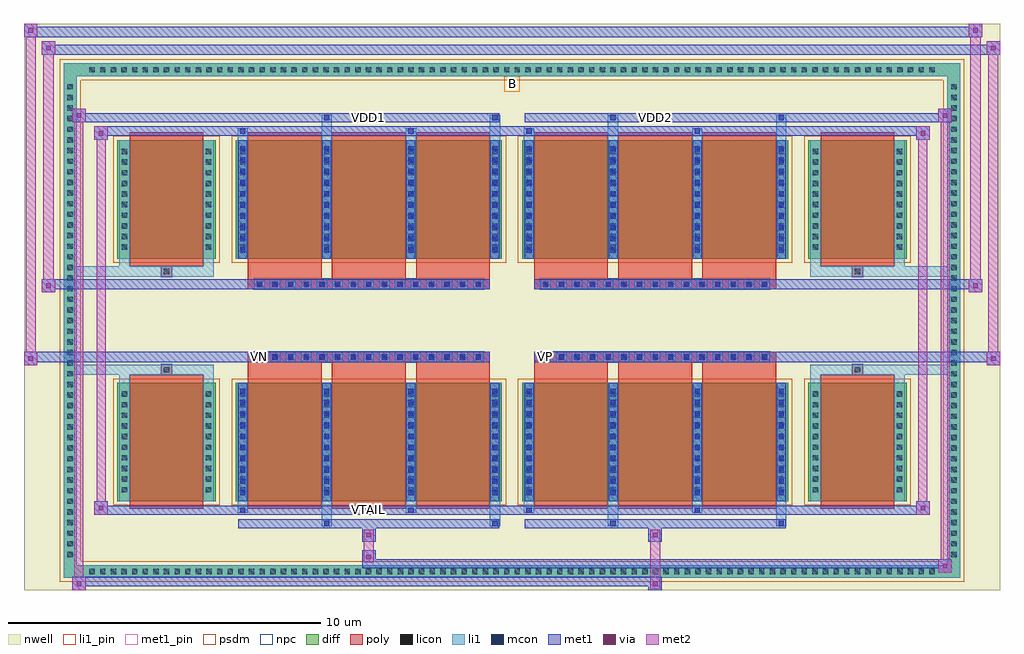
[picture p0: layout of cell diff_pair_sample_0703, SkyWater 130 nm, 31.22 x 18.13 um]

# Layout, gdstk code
import gdstk
lib = gdstk.Library(unit=1e-6, precision=5e-09)
def R(c, l, rs):  # rectangles x0, y0, x1, y1
    for r in rs: c.add(gdstk.rectangle(r[:2], r[2:], *l))
def A(c, l, x, y, w, h, nx, ny, dx, dy):  # array of equal rectangles
    R(c, l, [(x+i*dx, y+j*dy, x+i*dx+w, y+j*dy+h) for i in range(nx) for j in range(ny)])
def P(c, l, *ps):  # polygons
    for p in ps: c.add(gdstk.Polygon(p, *l))
nwell = (64, 20)
diff = (65, 20)
poly = (66, 20)
licon = (66, 44)
li1_pin = (67, 16)
li1 = (67, 20)
mcon = (67, 44)
met1_pin = (68, 16)
met1 = (68, 20)
via = (68, 44)
met2 = (69, 20)
psdm = (94, 20)
npc = (95, 20)

diff_pair_sample_0703 = lib.new_cell('diff_pair_sample_0703')
R(diff_pair_sample_0703, nwell, [(-15.61,-8.63,15.61,9.5), (-12.93,-6.82,-0.01,-0.8), (0.01,-6.82,12.93,-0.8), (-12.93,0.8,-0.01,6.82), (0.01,0.8,12.93,6.82)])
A(diff_pair_sample_0703, diff, -13.635, -8.23, 0.41, 0.41, 80, 2, 0.34, 16.05)
A(diff_pair_sample_0703, diff, -14.34, -7.685, 0.41, 0.41, 1, 45, 0, 0.34)
A(diff_pair_sample_0703, diff, 13.93, -7.685, 0.41, 0.41, 1, 45, 0, 0.34)
R(diff_pair_sample_0703, diff, [(-13.635,-8.23,13.635,-7.82), (-14.34,-7.685,-13.93,7.685), (13.93,-7.685,14.34,7.685), (-12.62,-5.775,-9.48,-1.985), (-8.84,-5.775,-0.32,-1.985), (0.32,-5.775,8.84,-1.985), (9.48,-5.775,12.62,-1.985), (-12.62,1.985,-9.48,5.775), (-8.84,1.985,-0.32,5.775), (0.32,1.985,8.84,5.775), (9.48,1.985,12.62,5.775), (-13.635,7.82,13.635,8.23)])
P(diff_pair_sample_0703, diff, [(14.34,8.23),(-14.34,8.23),(-14.34,-7.82),(-13.93,-7.82),(-13.93,7.82),(13.93,7.82),(13.93,-7.82),(-13.93,-7.82),(-14.34,-7.82),(-14.34,-8.23),(14.34,-8.23)])
A(diff_pair_sample_0703, poly, -8.45, -6.025, 2.36, 4.29, 3, 2, 2.69, 7.76)
A(diff_pair_sample_0703, poly, 0.71, -6.025, 2.36, 4.29, 3, 2, 2.69, 7.76)
A(diff_pair_sample_0703, poly, -8.45, -1.735, 2.36, 0.405, 3, 2, 2.69, 3.065)
A(diff_pair_sample_0703, poly, 0.71, -1.735, 2.36, 0.405, 3, 2, 2.69, 3.065)
A(diff_pair_sample_0703, poly, -8.245, -1.33, 0.33, 0.33, 15, 2, 0.5, 2.33)
A(diff_pair_sample_0703, poly, 0.915, -1.33, 0.33, 0.33, 15, 2, 0.5, 2.33)
R(diff_pair_sample_0703, poly, [(-12.23,-6.025,-9.87,-1.735), (9.87,-6.025,12.23,-1.735), (-11.215,-1.735,-10.885,-1.405), (-11.215,-1.735,-10.885,-1.405), (10.885,-1.735,11.215,-1.405), (10.885,-1.735,11.215,-1.405), (-8.45,-1.33,-0.71,-1), (0.71,-1.33,8.45,-1), (-8.45,1,-0.71,1.33), (0.71,1,8.45,1.33), (-11.215,1.405,-10.885,1.735), (-11.215,1.405,-10.885,1.735), (10.885,1.405,11.215,1.735), (10.885,1.405,11.215,1.735), (-12.23,1.735,-9.87,6.025), (9.87,1.735,12.23,6.025)])
A(diff_pair_sample_0703, licon, -13.515, -8.11, 0.17, 0.17, 80, 2, 0.34, 16.05)
A(diff_pair_sample_0703, licon, -14.22, -7.565, 0.17, 0.17, 1, 45, 0, 0.34)
A(diff_pair_sample_0703, licon, 14.05, -7.565, 0.17, 0.17, 1, 45, 0, 0.34)
A(diff_pair_sample_0703, licon, -12.48, -5.495, 0.17, 0.17, 1, 10, 0, 0.34)
A(diff_pair_sample_0703, licon, -9.79, -5.495, 0.17, 0.17, 1, 10, 0, 0.34)
A(diff_pair_sample_0703, licon, -8.7, -5.495, 0.17, 0.17, 4, 10, 2.69, 0.34)
A(diff_pair_sample_0703, licon, 0.46, -5.495, 0.17, 0.17, 4, 10, 2.69, 0.34)
A(diff_pair_sample_0703, licon, 9.62, -5.495, 0.17, 0.17, 1, 10, 0, 0.34)
A(diff_pair_sample_0703, licon, 12.31, -5.495, 0.17, 0.17, 1, 10, 0, 0.34)
A(diff_pair_sample_0703, licon, -8.165, -1.25, 0.17, 0.17, 15, 2, 0.5, 2.33)
A(diff_pair_sample_0703, licon, 0.995, -1.25, 0.17, 0.17, 15, 2, 0.5, 2.33)
A(diff_pair_sample_0703, licon, -12.48, 2.265, 0.17, 0.17, 1, 10, 0, 0.34)
A(diff_pair_sample_0703, licon, -9.79, 2.265, 0.17, 0.17, 1, 10, 0, 0.34)
A(diff_pair_sample_0703, licon, -8.7, 2.265, 0.17, 0.17, 4, 10, 2.69, 0.34)
A(diff_pair_sample_0703, licon, 0.46, 2.265, 0.17, 0.17, 4, 10, 2.69, 0.34)
A(diff_pair_sample_0703, licon, 9.62, 2.265, 0.17, 0.17, 1, 10, 0, 0.34)
A(diff_pair_sample_0703, licon, 12.31, 2.265, 0.17, 0.17, 1, 10, 0, 0.34)
R(diff_pair_sample_0703, licon, [(-11.135,-1.655,-10.965,-1.485), (10.965,-1.655,11.135,-1.485), (-11.135,1.485,-10.965,1.655), (10.965,1.485,11.135,1.655)])
R(diff_pair_sample_0703, li1_pin, [(-0.25,7.32,0.25,7.82)])
A(diff_pair_sample_0703, li1, -13.595, -8.19, 0.33, 0.33, 80, 2, 0.34, 16.05)
A(diff_pair_sample_0703, li1, -14.3, -7.645, 0.33, 0.33, 1, 45, 0, 0.34)
A(diff_pair_sample_0703, li1, 13.97, -7.645, 0.33, 0.33, 1, 45, 0, 0.34)
A(diff_pair_sample_0703, li1, -8.78, -5.775, 0.33, 3.79, 4, 2, 2.69, 7.76)
A(diff_pair_sample_0703, li1, 0.38, -5.775, 0.33, 3.79, 4, 2, 2.69, 7.76)
A(diff_pair_sample_0703, li1, -8.7, -5.585, 0.17, 0.17, 4, 10, 2.69, 0.36)
A(diff_pair_sample_0703, li1, -8.7, -5.585, 0.17, 3.41, 4, 2, 2.69, 7.76)
A(diff_pair_sample_0703, li1, 0.46, -5.585, 0.17, 0.17, 4, 10, 2.69, 0.36)
A(diff_pair_sample_0703, li1, 0.46, -5.585, 0.17, 3.41, 4, 2, 2.69, 7.76)
A(diff_pair_sample_0703, li1, -12.56, -5.575, 0.33, 0.33, 1, 10, 0, 0.34)
A(diff_pair_sample_0703, li1, -9.87, -5.575, 0.33, 0.33, 1, 10, 0, 0.34)
A(diff_pair_sample_0703, li1, -8.78, -5.575, 0.33, 0.33, 4, 10, 2.69, 0.34)
A(diff_pair_sample_0703, li1, 0.38, -5.575, 0.33, 0.33, 4, 10, 2.69, 0.34)
A(diff_pair_sample_0703, li1, 9.54, -5.575, 0.33, 0.33, 1, 10, 0, 0.34)
A(diff_pair_sample_0703, li1, 12.23, -5.575, 0.33, 0.33, 1, 10, 0, 0.34)
A(diff_pair_sample_0703, li1, -8.245, -1.33, 0.33, 0.33, 15, 2, 0.5, 2.33)
A(diff_pair_sample_0703, li1, 0.915, -1.33, 0.33, 0.33, 15, 2, 0.5, 2.33)
A(diff_pair_sample_0703, li1, -8.7, 2.175, 0.17, 0.17, 4, 10, 2.69, 0.36)
A(diff_pair_sample_0703, li1, 0.46, 2.175, 0.17, 0.17, 4, 10, 2.69, 0.36)
A(diff_pair_sample_0703, li1, -12.56, 2.185, 0.33, 0.33, 1, 10, 0, 0.34)
A(diff_pair_sample_0703, li1, -9.87, 2.185, 0.33, 0.33, 1, 10, 0, 0.34)
A(diff_pair_sample_0703, li1, -8.78, 2.185, 0.33, 0.33, 4, 10, 2.69, 0.34)
A(diff_pair_sample_0703, li1, 0.38, 2.185, 0.33, 0.33, 4, 10, 2.69, 0.34)
A(diff_pair_sample_0703, li1, 9.54, 2.185, 0.33, 0.33, 1, 10, 0, 0.34)
A(diff_pair_sample_0703, li1, 12.23, 2.185, 0.33, 0.33, 1, 10, 0, 0.34)
R(diff_pair_sample_0703, li1, [(-14.34,-8.23,-13.93,-7.82), (-14.34,-8.23,-13.93,-7.82), (-13.93,-8.23,13.93,-7.82), (13.93,-8.23,14.34,-7.82), (13.93,-8.23,14.34,-7.82), (-14.34,-7.82,-13.93,7.82), (13.93,-7.82,14.34,7.82), (-6.09,-6.58,-5.76,-5.775), (-6.01,-6.58,-5.84,-6.41), (-0.71,-6.58,-0.38,-5.775), (-0.63,-6.58,-0.46,-6.41), (3.07,-6.58,3.4,-5.775), (3.15,-6.58,3.32,-6.41), (8.45,-6.58,8.78,-5.775), (8.53,-6.58,8.7,-6.41), (-8.78,-6.15,-8.45,-5.775), (-8.7,-6.15,-8.53,-5.98), (-3.4,-6.15,-3.07,-5.775), (-3.32,-6.15,-3.15,-5.98), (0.38,-6.15,0.71,-5.775), (0.46,-6.15,0.63,-5.98), (5.76,-6.15,6.09,-5.775), (5.84,-6.15,6.01,-5.98), (-12.56,-5.775,-12.23,-1.985), (-9.87,-5.775,-9.54,-1.985), (9.54,-5.775,9.87,-1.985), (12.23,-5.775,12.56,-1.985), (-12.56,-1.985,-12.23,-1.405), (-9.87,-1.985,-9.54,-1.405), (9.54,-1.985,9.87,-1.405), (12.23,-1.985,12.56,-1.405), (-14.34,-1.735,-11.215,-1.405), (-12.56,-1.735,-11.215,-1.405), (-11.215,-1.735,-10.885,-1.405), (-10.885,-1.735,-9.54,-1.405), (9.54,-1.735,10.885,-1.405), (10.885,-1.735,11.215,-1.405), (10.885,-1.735,14.34,-1.405), (11.215,-1.735,12.56,-1.405), (-14.34,1.405,-11.215,1.735), (-12.56,1.405,-11.215,1.735), (-12.56,1.405,-12.23,1.985), (-11.215,1.405,-10.885,1.735), (-10.885,1.405,-9.54,1.735), (-9.87,1.405,-9.54,1.985), (9.54,1.405,10.885,1.735), (9.54,1.405,9.87,1.985), (10.885,1.405,11.215,1.735), (10.885,1.405,14.34,1.735), (11.215,1.405,12.56,1.735), (12.23,1.405,12.56,1.985), (-12.56,1.985,-12.23,5.775), (-9.87,1.985,-9.54,5.775), (9.54,1.985,9.87,5.775), (12.23,1.985,12.56,5.775), (-8.78,5.775,-8.45,6.15), (-6.09,5.775,-5.76,6.58), (-3.4,5.775,-3.07,6.15), (-0.71,5.775,-0.38,6.58), (0.38,5.775,0.71,6.15), (3.07,5.775,3.4,6.58), (5.76,5.775,6.09,6.15), (8.45,5.775,8.78,6.58), (-8.7,5.98,-8.53,6.15), (-3.32,5.98,-3.15,6.15), (0.46,5.98,0.63,6.15), (5.84,5.98,6.01,6.15), (-6.01,6.41,-5.84,6.58), (-0.63,6.41,-0.46,6.58), (3.15,6.41,3.32,6.58), (8.53,6.41,8.7,6.58), (-14.34,7.82,-13.93,8.23), (-14.34,7.82,-13.93,8.23), (-13.93,7.82,13.93,8.23), (13.93,7.82,14.34,8.23), (13.93,7.82,14.34,8.23)])
A(diff_pair_sample_0703, mcon, -8.7, -5.585, 0.17, 0.17, 4, 10, 2.69, 0.36)
A(diff_pair_sample_0703, mcon, 0.46, -5.585, 0.17, 0.17, 4, 10, 2.69, 0.36)
A(diff_pair_sample_0703, mcon, -8.165, -1.25, 0.17, 0.17, 15, 2, 0.5, 2.33)
A(diff_pair_sample_0703, mcon, 0.995, -1.25, 0.17, 0.17, 15, 2, 0.5, 2.33)
A(diff_pair_sample_0703, mcon, -8.7, 2.175, 0.17, 0.17, 4, 10, 2.69, 0.36)
A(diff_pair_sample_0703, mcon, 0.46, 2.175, 0.17, 0.17, 4, 10, 2.69, 0.36)
R(diff_pair_sample_0703, mcon, [(-6.01,-6.58,-5.84,-6.41), (-0.63,-6.58,-0.46,-6.41), (3.15,-6.58,3.32,-6.41), (8.53,-6.58,8.7,-6.41), (-8.7,-6.15,-8.53,-5.98), (-3.32,-6.15,-3.15,-5.98), (0.46,-6.15,0.63,-5.98), (5.84,-6.15,6.01,-5.98), (-8.7,5.98,-8.53,6.15), (-3.32,5.98,-3.15,6.15), (0.46,5.98,0.63,6.15), (5.84,5.98,6.01,6.15), (-6.01,6.41,-5.84,6.58), (-0.63,6.41,-0.46,6.58), (3.15,6.41,3.32,6.58), (8.53,6.41,8.7,6.58)])
R(diff_pair_sample_0703, met1_pin, [(-4.715,-6.19,-4.445,-5.92), (-8.215,-1.29,-7.945,-1.02), (0.945,-1.29,1.215,-1.02), (-4.715,6.37,-4.445,6.64), (4.445,6.37,4.715,6.64)])
A(diff_pair_sample_0703, met1, -8.76, -5.775, 0.29, 3.79, 4, 2, 2.69, 7.76)
A(diff_pair_sample_0703, met1, 0.4, -5.775, 0.29, 3.79, 4, 2, 2.69, 7.76)
A(diff_pair_sample_0703, met1, -8.76, -5.645, 0.29, 0.29, 4, 10, 2.69, 0.36)
A(diff_pair_sample_0703, met1, 0.4, -5.645, 0.29, 0.29, 4, 10, 2.69, 0.36)
A(diff_pair_sample_0703, met1, -8.225, -1.31, 0.29, 0.29, 15, 2, 0.5, 2.33)
A(diff_pair_sample_0703, met1, 0.935, -1.31, 0.29, 0.29, 15, 2, 0.5, 2.33)
A(diff_pair_sample_0703, met1, -8.76, 2.115, 0.29, 0.29, 4, 10, 2.69, 0.36)
A(diff_pair_sample_0703, met1, 0.4, 2.115, 0.29, 0.29, 4, 10, 2.69, 0.36)
R(diff_pair_sample_0703, met1, [(-14.07,-8.63,-13.64,-8.2), (4.365,-8.63,4.795,-8.2), (-14.07,-8.49,4.795,-8.2), (13.64,-8.06,14.07,-7.63), (-4.795,-7.92,14.07,-7.63), (-4.795,-7.78,-4.365,-7.35), (-4.795,-7.07,-4.365,-6.64), (4.365,-7.07,4.795,-6.64), (-8.76,-6.64,-0.4,-6.35), (-6.07,-6.64,-5.78,-6.35), (-0.69,-6.64,-0.4,-6.35), (0.4,-6.64,8.76,-6.35), (3.09,-6.64,3.38,-6.35), (8.47,-6.64,8.76,-6.35), (-13.36,-6.21,-12.93,-5.78), (-13.36,-6.21,-8.76,-5.92), (-8.76,-6.21,-8.47,-5.92), (-8.76,-6.21,-0.4,-5.92), (-3.38,-6.21,-3.09,-5.92), (-0.4,-6.21,0.4,-5.92), (0.4,-6.21,0.69,-5.92), (0.4,-6.21,8.76,-5.92), (5.78,-6.21,6.07,-5.92), (8.76,-6.21,13.36,-5.92), (12.93,-6.21,13.36,-5.78), (-15.61,-1.43,-15.18,-1), (15.18,-1.43,15.61,-1), (-15.61,-1.33,-0.71,-1), (-8.45,-1.33,-0.71,-1), (0.71,-1.33,8.45,-1), (0.71,-1.33,15.61,-1), (-15.04,0.9,-14.61,1.33), (14.61,0.9,15.04,1.33), (-15.04,1,-8.45,1.33), (-8.45,1,-0.71,1.33), (0.71,1,8.45,1.33), (8.45,1,15.04,1.33), (-13.36,5.78,-12.93,6.21), (12.93,5.78,13.36,6.21), (-13.36,5.92,-8.76,6.21), (-8.76,5.92,-8.47,6.21), (-8.76,5.92,-0.4,6.21), (-3.38,5.92,-3.09,6.21), (-0.4,5.92,0.4,6.21), (0.4,5.92,0.69,6.21), (0.4,5.92,8.76,6.21), (5.78,5.92,6.07,6.21), (8.76,5.92,13.36,6.21), (-14.07,6.35,-13.64,6.78), (-14.07,6.35,-8.76,6.64), (-8.76,6.35,-0.4,6.64), (-6.07,6.35,-5.78,6.64), (-0.69,6.35,-0.4,6.64), (0.4,6.35,8.76,6.64), (3.09,6.35,3.38,6.64), (8.47,6.35,8.76,6.64), (8.76,6.35,14.07,6.64), (13.64,6.35,14.07,6.78), (-15.04,8.5,-14.61,8.93), (-15.04,8.5,-12.93,8.83), (-12.93,8.5,12.93,8.83), (12.93,8.5,15.61,8.83), (15.18,8.5,15.61,8.93), (-15.61,9.07,-15.18,9.5), (-15.61,9.07,-12.93,9.4), (-12.93,9.07,12.93,9.4), (12.93,9.07,15.04,9.4), (14.61,9.07,15.04,9.5)])
R(diff_pair_sample_0703, via, [(-13.93,-8.49,-13.78,-8.34), (4.505,-8.49,4.655,-8.34), (13.78,-7.92,13.93,-7.77), (-4.655,-7.64,-4.505,-7.49), (-4.655,-6.93,-4.505,-6.78), (4.505,-6.93,4.655,-6.78), (-13.22,-6.07,-13.07,-5.92), (13.07,-6.07,13.22,-5.92), (-15.47,-1.29,-15.32,-1.14), (15.32,-1.29,15.47,-1.14), (-14.9,1.04,-14.75,1.19), (14.75,1.04,14.9,1.19), (-13.22,5.92,-13.07,6.07), (13.07,5.92,13.22,6.07), (-13.93,6.49,-13.78,6.64), (13.78,6.49,13.93,6.64), (-14.9,8.64,-14.75,8.79), (15.32,8.64,15.47,8.79), (-15.47,9.21,-15.32,9.36), (14.75,9.21,14.9,9.36)])
R(diff_pair_sample_0703, met2, [(-14.07,-8.63,-13.64,-8.2), (-14,-8.63,-13.71,6.78), (-13.71,-8.63,-13.64,-8.2), (-14.02,-8.58,-13.69,-8.25), (4.415,-8.58,4.745,-8.25), (4.415,-8.25,4.745,-7.02), (13.64,-8.06,14.07,-7.63), (13.71,-8.06,14,6.78), (14,-8.06,14.07,-7.63), (13.69,-8.01,14.02,-7.68), (-4.745,-7.73,-4.415,-7.4), (-4.745,-7.4,-4.415,-7.02), (-4.745,-7.02,-4.415,-6.69), (4.415,-7.02,4.745,-6.69), (-13.36,-6.21,-12.93,-5.78), (-13.29,-6.21,-13,6.21), (-13,-6.21,-12.93,-5.78), (12.93,-6.21,13.36,-5.78), (13,-6.21,13.29,6.21), (13.29,-6.21,13.36,-5.78), (-13.31,-6.16,-12.98,-5.83), (12.98,-6.16,13.31,-5.83), (-15.61,-1.43,-15.18,-1), (-15.56,-1.43,-15.23,9.5), (-15.23,-1.43,-15.18,-1), (15.18,-1.43,15.61,-1), (15.23,-1.43,15.56,8.93), (15.56,-1.43,15.61,-1), (-15.56,-1.38,-15.23,-1.05), (15.23,-1.38,15.56,-1.05), (-15.04,0.9,-14.61,1.33), (-14.99,0.9,-14.66,8.93), (-14.66,0.9,-14.61,1.33), (14.61,0.9,15.04,1.33), (14.66,0.9,14.99,9.5), (14.99,0.9,15.04,1.33), (-14.99,0.95,-14.66,1.28), (14.66,0.95,14.99,1.28), (-13.36,5.78,-12.93,6.21), (-13,5.78,-12.93,6.21), (12.93,5.78,13.36,6.21), (13.29,5.78,13.36,6.21), (-13.31,5.83,-12.98,6.16), (12.98,5.83,13.31,6.16), (-14.07,6.35,-13.64,6.78), (-13.71,6.35,-13.64,6.78), (13.64,6.35,14.07,6.78), (14,6.35,14.07,6.78), (-14.02,6.4,-13.69,6.73), (13.69,6.4,14.02,6.73), (-15.04,8.5,-14.61,8.93), (-14.66,8.5,-14.61,8.93), (15.18,8.5,15.61,8.93), (15.56,8.5,15.61,8.93), (-14.99,8.55,-14.66,8.88), (15.23,8.55,15.56,8.88), (-15.61,9.07,-15.18,9.5), (-15.23,9.07,-15.18,9.5), (14.61,9.07,15.04,9.5), (14.99,9.07,15.04,9.5), (-15.56,9.12,-15.23,9.45), (14.66,9.12,14.99,9.45)])
R(diff_pair_sample_0703, psdm, [(-12.75,-5.905,-9.35,-1.855), (-8.97,-5.905,-0.19,-1.855), (0.19,-5.905,8.97,-1.855), (9.35,-5.905,12.75,-1.855), (-12.75,1.855,-9.35,5.905), (-8.97,1.855,-0.19,5.905), (0.19,1.855,8.97,5.905), (9.35,1.855,12.75,5.905)])
P(diff_pair_sample_0703, psdm, [(14.47,8.36),(-14.47,8.36),(-14.47,-7.69),(-13.8,-7.69),(-13.8,7.69),(13.8,7.69),(13.8,-7.69),(-13.8,-7.69),(-14.47,-7.69),(-14.47,-8.36),(14.47,-8.36)])
A(diff_pair_sample_0703, npc, -8.265, -1.35, 0.37, 0.37, 15, 2, 0.5, 2.33)
A(diff_pair_sample_0703, npc, 0.895, -1.35, 0.37, 0.37, 15, 2, 0.5, 2.33)
R(diff_pair_sample_0703, npc, [(-11.235,-1.755,-10.865,-1.385), (10.865,-1.755,11.235,-1.385), (-8.265,-1.35,-7.395,-0.98), (-8.265,-1.35,-7.395,-0.98), (-7.765,-1.35,-6.895,-0.98), (-7.765,-1.35,-6.895,-0.98), (-7.265,-1.35,-6.395,-0.98), (-7.265,-1.35,-6.395,-0.98), (-6.765,-1.35,-5.895,-0.98), (-6.765,-1.35,-5.895,-0.98), (-6.265,-1.35,-5.395,-0.98), (-6.265,-1.35,-5.395,-0.98), (-5.765,-1.35,-4.895,-0.98), (-5.765,-1.35,-4.895,-0.98), (-5.265,-1.35,-4.395,-0.98), (-5.265,-1.35,-4.395,-0.98), (-4.765,-1.35,-3.895,-0.98), (-4.765,-1.35,-3.895,-0.98), (-4.265,-1.35,-3.395,-0.98), (-4.265,-1.35,-3.395,-0.98), (-3.765,-1.35,-2.895,-0.98), (-3.765,-1.35,-2.895,-0.98), (-3.265,-1.35,-2.395,-0.98), (-3.265,-1.35,-2.395,-0.98), (-2.765,-1.35,-1.895,-0.98), (-2.765,-1.35,-1.895,-0.98), (-2.265,-1.35,-1.395,-0.98), (-2.265,-1.35,-1.395,-0.98), (-1.765,-1.35,-0.895,-0.98), (-1.765,-1.35,-0.895,-0.98), (0.895,-1.35,1.765,-0.98), (0.895,-1.35,1.765,-0.98), (1.395,-1.35,2.265,-0.98), (1.395,-1.35,2.265,-0.98), (1.895,-1.35,2.765,-0.98), (1.895,-1.35,2.765,-0.98), (2.395,-1.35,3.265,-0.98), (2.395,-1.35,3.265,-0.98), (2.895,-1.35,3.765,-0.98), (2.895,-1.35,3.765,-0.98), (3.395,-1.35,4.265,-0.98), (3.395,-1.35,4.265,-0.98), (3.895,-1.35,4.765,-0.98), (3.895,-1.35,4.765,-0.98), (4.395,-1.35,5.265,-0.98), (4.395,-1.35,5.265,-0.98), (4.895,-1.35,5.765,-0.98), (4.895,-1.35,5.765,-0.98), (5.395,-1.35,6.265,-0.98), (5.395,-1.35,6.265,-0.98), (5.895,-1.35,6.765,-0.98), (5.895,-1.35,6.765,-0.98), (6.395,-1.35,7.265,-0.98), (6.395,-1.35,7.265,-0.98), (6.895,-1.35,7.765,-0.98), (6.895,-1.35,7.765,-0.98), (7.395,-1.35,8.265,-0.98), (7.395,-1.35,8.265,-0.98), (-8.265,0.98,-7.395,1.35), (-8.265,0.98,-7.395,1.35), (-7.765,0.98,-6.895,1.35), (-7.765,0.98,-6.895,1.35), (-7.265,0.98,-6.395,1.35), (-7.265,0.98,-6.395,1.35), (-6.765,0.98,-5.895,1.35), (-6.765,0.98,-5.895,1.35), (-6.265,0.98,-5.395,1.35), (-6.265,0.98,-5.395,1.35), (-5.765,0.98,-4.895,1.35), (-5.765,0.98,-4.895,1.35), (-5.265,0.98,-4.395,1.35), (-5.265,0.98,-4.395,1.35), (-4.765,0.98,-3.895,1.35), (-4.765,0.98,-3.895,1.35), (-4.265,0.98,-3.395,1.35), (-4.265,0.98,-3.395,1.35), (-3.765,0.98,-2.895,1.35), (-3.765,0.98,-2.895,1.35), (-3.265,0.98,-2.395,1.35), (-3.265,0.98,-2.395,1.35), (-2.765,0.98,-1.895,1.35), (-2.765,0.98,-1.895,1.35), (-2.265,0.98,-1.395,1.35), (-2.265,0.98,-1.395,1.35), (-1.765,0.98,-0.895,1.35), (-1.765,0.98,-0.895,1.35), (0.895,0.98,1.765,1.35), (0.895,0.98,1.765,1.35), (1.395,0.98,2.265,1.35), (1.395,0.98,2.265,1.35), (1.895,0.98,2.765,1.35), (1.895,0.98,2.765,1.35), (2.395,0.98,3.265,1.35), (2.395,0.98,3.265,1.35), (2.895,0.98,3.765,1.35), (2.895,0.98,3.765,1.35), (3.395,0.98,4.265,1.35), (3.395,0.98,4.265,1.35), (3.895,0.98,4.765,1.35), (3.895,0.98,4.765,1.35), (4.395,0.98,5.265,1.35), (4.395,0.98,5.265,1.35), (4.895,0.98,5.765,1.35), (4.895,0.98,5.765,1.35), (5.395,0.98,6.265,1.35), (5.395,0.98,6.265,1.35), (5.895,0.98,6.765,1.35), (5.895,0.98,6.765,1.35), (6.395,0.98,7.265,1.35), (6.395,0.98,7.265,1.35), (6.895,0.98,7.765,1.35), (6.895,0.98,7.765,1.35), (7.395,0.98,8.265,1.35), (7.395,0.98,8.265,1.35), (-11.235,1.385,-10.865,1.755), (10.865,1.385,11.235,1.755)])
diff_pair_sample_0703.add(gdstk.Label('VTAIL', (-4.58,-6.055), layer=68, texttype=5))
diff_pair_sample_0703.add(gdstk.Label('VN', (-8.08,-1.155), layer=68, texttype=5))
diff_pair_sample_0703.add(gdstk.Label('VP', (1.08,-1.155), layer=68, texttype=5))
diff_pair_sample_0703.add(gdstk.Label('B', (0,7.57), layer=67, texttype=5))
diff_pair_sample_0703.add(gdstk.Label('VDD2', (4.58,6.505), layer=68, texttype=5))
diff_pair_sample_0703.add(gdstk.Label('VDD1', (-4.58,6.505), layer=68, texttype=5))

lib.write_gds('diff_pair_sample_0703.gds')
